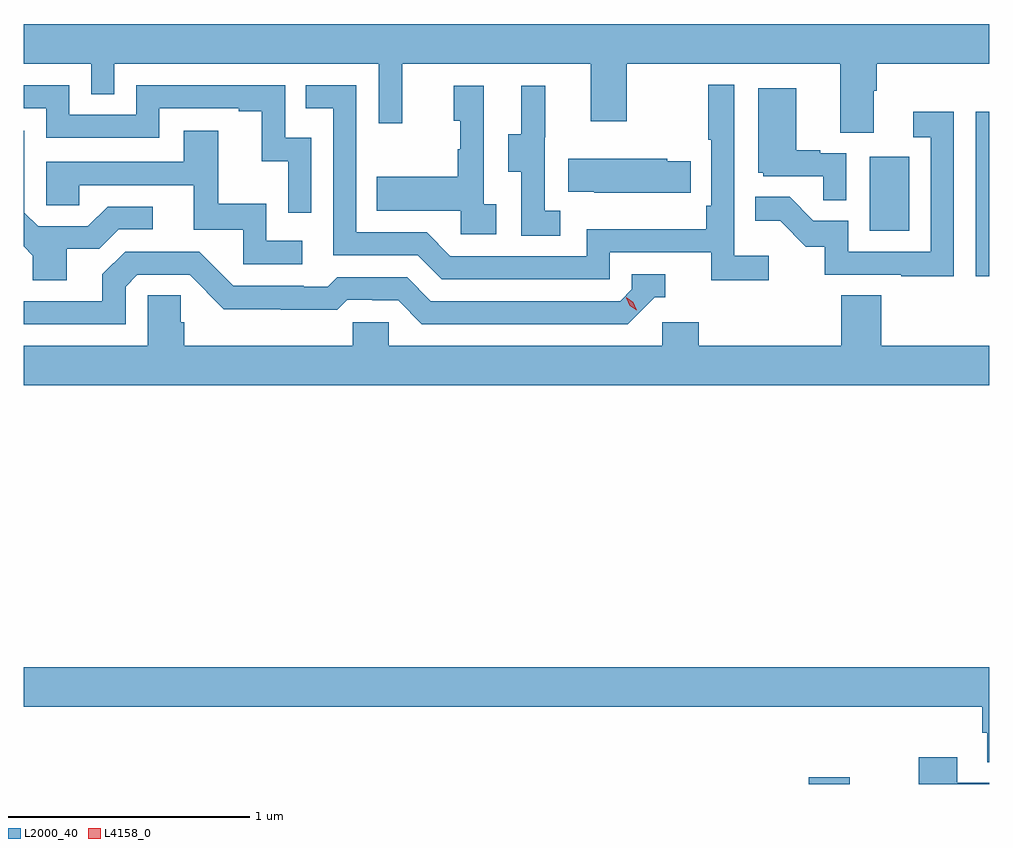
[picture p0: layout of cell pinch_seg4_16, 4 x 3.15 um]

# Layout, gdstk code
import gdstk
lib = gdstk.Library(unit=1e-6, precision=1e-09)
def R(c, l, rs):  # rectangles x0, y0, x1, y1
    for r in rs: c.add(gdstk.rectangle(r[:2], r[2:], *l))
def P(c, l, *ps):  # polygons
    for p in ps: c.add(gdstk.Polygon(p, *l))
L2000_40 = (2000, 40)
L4158_0 = (4158, 0)

pinch_seg4_16 = lib.new_cell('pinch_seg4_16')
R(pinch_seg4_16, L2000_40, [(1106.834,821.809,1107.004,821.836), (1107.525,823.912,1107.582,824.593), (1107.086,824.1,1107.25,824.407)])
P(pinch_seg4_16, L2000_40, [(1107.103,824.68),(1107.116,824.68),(1107.116,824.792),(1107.582,824.792),(1107.582,824.956),(1103.582,824.956),(1103.582,824.792),(1103.862,824.792),(1103.862,824.665),(1103.958,824.665),(1103.958,824.792),(1105.053,824.792),(1105.053,824.544),(1105.151,824.544),(1105.151,824.792),(1105.931,824.792),(1105.931,824.553),(1106.079,824.553),(1106.079,824.792),(1106.963,824.792),(1106.963,824.506),(1107.103,824.506)],
  [(1106.668,823.996),(1106.526,823.996),(1106.526,824.704),(1106.418,824.704),(1106.418,824.476),(1106.43,824.476),(1106.43,824.203),(1106.41,824.203),(1106.41,824.107),(1105.914,824.107),(1105.914,823.995),(1105.35,823.995),(1105.251,824.094),(1104.96,824.094),(1104.96,824.703),(1104.751,824.703),(1104.751,824.607),(1104.864,824.607),(1104.864,823.998),(1105.214,823.998),(1105.313,823.899),(1106.01,823.899),(1106.01,824.01),(1106.429,824.01),(1106.429,823.894),(1106.668,823.894)],
  [(1104.774,824.484),(1104.666,824.484),(1104.666,824.703),(1104.048,824.703),(1104.048,824.58),(1103.772,824.58),(1103.772,824.703),(1103.582,824.703),(1103.582,824.607),(1103.676,824.607),(1103.676,824.484),(1104.144,824.484),(1104.144,824.607),(1104.473,824.607),(1104.473,824.595),(1104.569,824.595),(1104.569,824.387),(1104.678,824.387),(1104.678,824.175),(1104.774,824.175)],
  [(1105.804,824.183),(1105.74,824.183),(1105.74,824.487),(1105.742,824.487),(1105.742,824.701),(1105.643,824.701),(1105.643,824.499),(1105.589,824.499),(1105.589,824.344),(1105.644,824.344),(1105.644,824.08),(1105.804,824.08)],
  [(1105.54,824.21),(1105.488,824.21),(1105.488,824.701),(1105.364,824.701),(1105.364,824.556),(1105.39,824.556),(1105.39,824.438),(1105.38,824.438),(1105.38,824.323),(1105.045,824.323),(1105.045,824.183),(1105.392,824.183),(1105.392,824.085),(1105.54,824.085)],
  [(1106.988,824.421),(1106.882,824.421),(1106.882,824.434),(1106.782,824.434),(1106.782,824.689),(1106.624,824.689),(1106.624,824.34),(1106.646,824.34),(1106.646,824.325),(1106.893,824.325),(1106.893,824.227),(1106.988,824.227)],
  [(1107.435,824.593),(1107.267,824.593),(1107.267,824.487),(1107.339,824.487),(1107.339,824.013),(1106.997,824.013),(1106.997,824.142),(1106.853,824.142),(1106.755,824.24),(1106.611,824.24),(1106.611,824.141),(1106.715,824.141),(1106.822,824.034),(1106.899,824.034),(1106.899,823.917),(1107.217,823.917),(1107.217,823.912),(1107.435,823.912)],
  [(1104.736,824.058),(1104.588,824.058),(1104.588,824.212),(1104.389,824.212),(1104.389,824.515),(1104.245,824.515),(1104.245,824.385),(1103.676,824.385),(1103.676,824.205),(1103.813,824.205),(1103.813,824.289),(1104.287,824.289),(1104.287,824.103),(1104.492,824.103),(1104.492,823.962),(1104.736,823.962)],
  [(1103.761,824.026),(1103.896,824.026),(1103.976,824.106),(1104.118,824.106),(1104.118,824.199),(1103.93,824.199),(1103.849,824.118),(1103.643,824.118),(1103.586,824.175),(1103.586,824.515),(1103.582,824.515),(1103.582,824.035),(1103.621,823.996),(1103.621,823.894),(1103.761,823.894)],
  [(1106.345,824.388),(1106.247,824.388),(1106.247,824.398),(1105.837,824.398),(1105.837,824.261),(1105.945,824.261),(1105.945,824.258),(1106.345,824.258)],
  [(1104.006,823.869),(1104.054,823.917),(1104.27,823.917),(1104.412,823.775),(1104.648,823.775),(1104.648,823.773),(1104.881,823.773),(1104.923,823.815),(1105.026,823.815),(1105.026,823.812),(1105.133,823.812),(1105.232,823.713),(1106.085,823.713),(1106.196,823.824),(1106.239,823.824),(1106.239,823.92),(1106.1,823.92),(1106.1,823.857),(1106.052,823.809),(1105.269,823.809),(1105.17,823.908),(1104.881,823.908),(1104.842,823.869),(1104.743,823.869),(1104.743,823.872),(1104.45,823.872),(1104.309,824.013),(1104.003,824.013),(1103.909,823.919),(1103.909,823.809),(1103.582,823.809),(1103.582,823.713),(1104.006,823.713)],
  [(1107.582,823.624),(1107.134,823.624),(1107.134,823.832),(1106.969,823.832),(1106.969,823.624),(1106.378,823.624),(1106.378,823.722),(1106.226,823.722),(1106.226,823.624),(1105.095,823.624),(1105.095,823.722),(1104.945,823.722),(1104.945,823.624),(1104.248,823.624),(1104.248,823.722),(1104.233,823.722),(1104.233,823.832),(1104.096,823.832),(1104.096,823.624),(1103.582,823.624),(1103.582,823.46),(1107.582,823.46)],
  [(1107.582,822.292),(1103.582,822.292),(1103.582,822.128),(1107.553,822.128),(1107.553,822.021),(1107.573,822.021),(1107.573,821.9),(1107.582,821.9)],
  [(1107.582,821.815),(1107.448,821.815),(1107.448,821.92),(1107.29,821.92),(1107.29,821.809),(1107.582,821.809)])
P(pinch_seg4_16, L4158_0, [(1106.122,823.77),(1106.092,823.79),(1106.077,823.823),(1106.077,823.824),(1106.077,823.824),(1106.107,823.803),(1106.122,823.77),(1106.122,823.77)])

lib.write_gds('pinch_seg4_16.gds')
